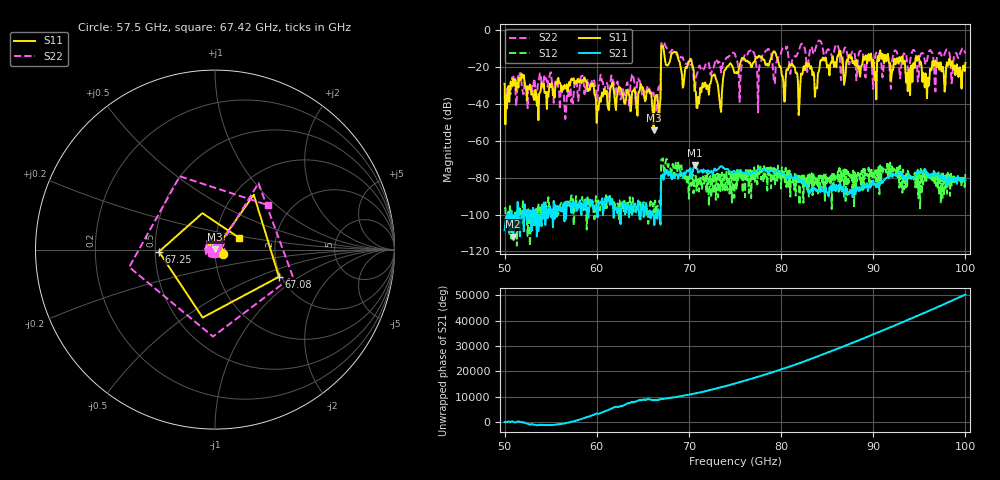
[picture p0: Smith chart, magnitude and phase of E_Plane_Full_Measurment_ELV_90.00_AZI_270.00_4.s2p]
! 11/26/2026 2:49:09 PM
! C:\ANRITSUVNA\TEMP\TEMP.S2P
! CHANNEL.1
! TR.MEASUREMENT
! RAW.DATA
# HZ S RI R 50.0
! FREQ.HZ  S11RE  S11IM  S21RE  S21IM  S12RE  S12IM  S22RE  S22IM
!; PortSelection: Port_12
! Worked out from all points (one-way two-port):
!   601 points, 50 GHz to 100 GHz, reference 50 ohm
!   highest |S21| = -73.06 dB at 70.67 GHz (marker M1); lowest = -111.9 dB at 50.92 GHz (marker M2)
!   lowest |S11| = -54.3 dB at 66.17 GHz (marker M3), VSWR 1.00, Z = 50.1 + j0.139 ohm
!   |S11| at or under -10 dB: start of sweep to 67 GHz; 67.24 GHz to end of sweep
!   |S22| runs from -48.2 to -5.6 dB; largest |S21 - S12| = 0.00044
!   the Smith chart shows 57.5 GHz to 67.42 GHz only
!   S11 on the Smith chart (normalised r, x): 57.5 GHz: 1.09, -0.05; 67.08 GHz: 1.94, -0.69; 67.25 GHz: 0.52, -0.01; 67.42 GHz: 1.29, +0.18
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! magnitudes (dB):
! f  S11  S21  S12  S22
! 50 GHz  -29.1  -108.5  -96.7  -36.0
! 50.92 GHz  -26.3  -111.9  -111.8  -26.4
! 53.42 GHz  -34.9  -99.3  -96.7  -34.9
! 57.5 GHz  -26.2  -96.4  -105.9  -34.6
! 58.42 GHz  -27.1  -94.0  -90.4  -24.7
! 60.17 GHz  -43.3  -94.9  -92.3  -30.5
! 66.17 GHz  -54.3  -101.0  -99.1  -34.0
! 66.67 GHz  -41.5  -97.0  -95.3  -31.6
! 67.08 GHz  -8.2  -79.0  -70.0  -6.8
! 67.25 GHz  -10.1  -81.1  -74.3  -6.2
! 67.42 GHz  -16.5  -77.4  -73.1  -8.3
! 70.17 GHz  -15.4  -74.9  -76.2  -18.5
! 70.67 GHz  -32.9  -73.1  -79.0  -33.0
! 73.42 GHz  -42.4  -74.2  -87.4  -19.7
! 75 GHz  -23.3  -76.8  -76.6  -13.0
! 79.25 GHz  -11.5  -77.4  -74.7  -29.0
! 80.25 GHz  -28.0  -77.7  -76.7  -9.3
! 83.42 GHz  -24.6  -87.6  -89.5  -10.8
! 91.67 GHz  -16.8  -80.1  -71.9  -15.2
! 94.83 GHz  -14.9  -76.3  -75.8  -27.9
! 95.83 GHz  -36.9  -77.1  -78.8  -16.5
! 100 GHz  -17.8  -81.5  -78.0  -12.6
